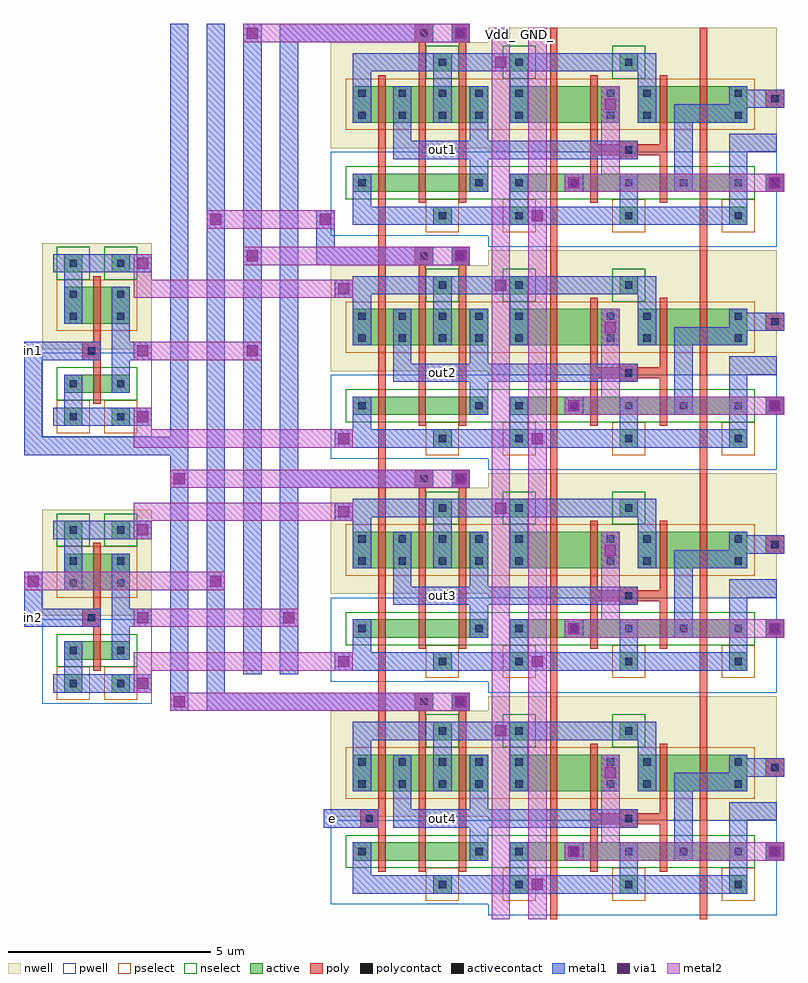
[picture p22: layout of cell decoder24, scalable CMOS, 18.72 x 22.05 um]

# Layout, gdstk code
import gdstk
lib = gdstk.Library(unit=1e-6, precision=1e-09)
def R(c, l, rs):  # rectangles x0, y0, x1, y1
    for r in rs: c.add(gdstk.rectangle(r[:2], r[2:], *l))
def A(c, l, x, y, w, h, nx, ny, dx, dy):  # array of equal rectangles
    R(c, l, [(x+i*dx, y+j*dy, x+i*dx+w, y+j*dy+h) for i in range(nx) for j in range(ny)])
pwell = (41, 0)
nwell = (42, 0)
active = (43, 0)
pselect = (44, 0)
nselect = (45, 0)
poly = (46, 0)
polycontact = (47, 0)
activecontact = (48, 0)
metal1 = (49, 0)
via1 = (50, 0)
metal2 = (51, 0)

decoder_nor2 = lib.new_cell('decoder_nor2')
R(decoder_nor2, pwell, [(6.12,2.25,13.23,4.59)])
R(decoder_nor2, nwell, [(6.12,4.59,13.23,7.65)])
A(decoder_nor2, active, 6.66, 2.79, 0.45, 0.45, 3, 1, 2.7, 0)
R(decoder_nor2, active, [(6.66,3.6,12.51,4.05), (6.66,5.31,9.36,6.21), (9.81,5.31,12.51,6.21), (6.66,6.57,7.11,7.02), (9.36,6.57,9.81,7.02)])
A(decoder_nor2, pselect, 6.48, 2.61, 0.81, 0.81, 3, 1, 2.7, 0)
R(decoder_nor2, pselect, [(6.48,5.13,12.69,6.39)])
R(decoder_nor2, nselect, [(6.48,3.42,12.69,4.23), (6.48,6.39,7.29,7.2), (9.18,6.39,9.99,7.2)])
R(decoder_nor2, poly, [(7.65,2.16,7.83,7.65), (11.34,2.16,11.52,7.65), (8.64,3.33,8.82,4.5), (10.35,3.33,10.53,4.5), (12.96,3.6,13.41,4.05), (9.36,4.41,9.81,4.5), (8.64,4.5,10.53,4.77), (8.64,4.77,8.82,6.48), (9.36,4.77,9.81,4.86), (10.35,4.77,10.53,6.48), (12.96,5.67,13.41,6.12)])
R(decoder_nor2, polycontact, [(13.095,3.735,13.275,3.915), (9.495,4.545,9.675,4.725), (13.095,5.805,13.275,5.985)])
A(decoder_nor2, activecontact, 6.795, 2.925, 0.18, 0.18, 3, 1, 2.7, 0)
A(decoder_nor2, activecontact, 6.795, 3.735, 0.18, 0.18, 5, 1, 1.35, 0)
R(decoder_nor2, activecontact, [(6.795,5.4,6.975,5.58), (9.045,5.4,9.225,5.58), (9.945,5.4,10.125,5.58), (12.195,5.4,12.375,5.58), (6.795,5.94,6.975,6.12), (9.045,5.94,9.225,6.12), (9.945,5.94,10.125,6.12), (12.195,5.94,12.375,6.12), (6.795,6.705,6.975,6.885), (9.495,6.705,9.675,6.885)])
R(decoder_nor2, metal1, [(6.12,2.79,12.51,3.24), (6.66,3.24,7.11,4.05), (9.36,3.24,9.81,4.05), (12.06,3.24,12.51,4.59), (8.01,3.6,8.46,4.05), (10.71,3.6,11.16,5.31), (12.96,3.6,13.41,4.05), (6.12,4.41,9.81,4.86), (12.06,4.59,13.23,5.04), (6.66,5.31,7.11,6.57), (8.91,5.31,9.36,6.21), (9.81,5.31,10.26,6.57), (10.71,5.31,12.51,5.67), (10.71,5.67,13.41,5.76), (12.06,5.76,13.41,6.12), (12.06,6.12,12.51,6.21), (6.12,6.57,10.26,7.02)])
R(decoder_nor2, via1, [(8.1,3.69,8.37,3.96), (13.05,3.69,13.32,3.96), (9,5.625,9.27,5.895)])
R(decoder_nor2, metal2, [(8.01,3.6,13.41,4.05), (8.91,4.05,9.36,6.21)])
decoder_nor2.add(gdstk.Label('phi0', (7.74,7.56), layer=46, texttype=0))
decoder_nor2.add(gdstk.Label('phi1', (11.43,7.56), layer=46, texttype=0))
decoder_nor2.add(gdstk.Label('Vdd_', (6.3,6.795), layer=49, texttype=0))
decoder_nor2.add(gdstk.Label('GND_', (6.3,3.015), layer=49, texttype=0))
decoder_nor2.add(gdstk.Label('in', (6.345,4.635), layer=49, texttype=0))
decoder_nor2.add(gdstk.Label('out1', (13.185,5.895), layer=49, texttype=0))
decoder_nor2.add(gdstk.Label('out2', (13.185,3.825), layer=51, texttype=0))

c_3nand2 = lib.new_cell('3nand2')
R(c_3nand2, pwell, [(-0.81,-6.39,3.6,-4.32)])
R(c_3nand2, nwell, [(-0.81,-4.23,3.6,-1.62)])
R(c_3nand2, active, [(1.71,-6.12,2.16,-5.67), (-0.27,-5.31,3.06,-4.86), (-0.27,-3.6,3.06,-2.7), (1.71,-2.34,2.16,-1.89)])
R(c_3nand2, pselect, [(1.53,-6.3,2.34,-5.49), (-0.45,-3.78,3.24,-2.52)])
R(c_3nand2, nselect, [(-0.45,-5.49,3.24,-4.68), (1.53,-2.52,2.34,-1.71)])
A(c_3nand2, poly, 0.36, -5.58, 0.18, 3.15, 3, 1, 0.99, 0)
A(c_3nand2, activecontact, -0.135, -3.51, 0.18, 0.18, 3, 2, 0.99, 0.54)
R(c_3nand2, activecontact, [(1.845,-5.985,2.025,-5.805), (-0.135,-5.175,0.045,-4.995), (2.745,-5.175,2.925,-4.995), (2.745,-3.51,2.925,-3.33), (2.745,-2.97,2.925,-2.79), (1.845,-2.205,2.025,-2.025)])
R(c_3nand2, metal1, [(-0.27,-6.12,3.6,-5.67), (-0.27,-5.67,0.18,-4.86), (2.61,-5.31,3.06,-4.5), (0.72,-4.5,3.6,-4.05), (0.72,-4.05,1.17,-2.7), (2.61,-4.05,3.06,-2.7), (-0.27,-3.6,0.18,-2.34), (1.71,-3.6,2.16,-2.34), (-0.27,-2.34,3.6,-1.89)])
c_3nand2.add(gdstk.Label('a', (0.45,-2.52), layer=46, texttype=0))
c_3nand2.add(gdstk.Label('GND_', (3.375,-5.895), layer=49, texttype=0))
c_3nand2.add(gdstk.Label('Vdd_', (3.375,-2.115), layer=49, texttype=0))
c_3nand2.add(gdstk.Label('out', (3.375,-4.275), layer=49, texttype=0))
c_3nand2.add(gdstk.Label('c', (2.43,-2.52), layer=46, texttype=0))
c_3nand2.add(gdstk.Label('b', (1.44,-2.52), layer=46, texttype=0))

inv2 = lib.new_cell('inv2')
R(inv2, pwell, [(-0.9,-1.17,1.8,0.9)])
R(inv2, nwell, [(-0.9,0.99,1.8,3.6)])
R(inv2, active, [(-0.36,-0.9,0.09,-0.45), (0.81,-0.9,1.26,-0.45), (-0.36,-0.09,1.26,0.36), (-0.36,1.62,1.26,2.52), (-0.36,2.88,0.09,3.33), (0.81,2.88,1.26,3.33)])
R(inv2, pselect, [(-0.54,-1.08,0.27,-0.27), (0.63,-1.08,1.44,-0.27), (-0.54,1.44,1.44,2.7)])
R(inv2, nselect, [(-0.54,-0.27,1.44,0.54), (-0.54,2.7,0.27,3.51), (0.63,2.7,1.44,3.51)])
R(inv2, poly, [(0.36,-0.36,0.54,0.72), (0.09,0.72,0.54,1.17), (0.36,1.17,0.54,2.79)])
R(inv2, polycontact, [(0.225,0.855,0.405,1.035)])
R(inv2, activecontact, [(-0.225,-0.765,-0.045,-0.585), (0.945,-0.765,1.125,-0.585), (-0.225,0.045,-0.045,0.225), (0.945,0.045,1.125,0.225), (-0.225,1.71,-0.045,1.89), (0.945,1.71,1.125,1.89), (-0.225,2.25,-0.045,2.43), (0.945,2.25,1.125,2.43), (-0.225,3.015,-0.045,3.195), (0.945,3.015,1.125,3.195)])
R(inv2, metal1, [(-0.63,-0.9,1.53,-0.45), (-0.36,-0.45,0.09,0.36), (0.81,-0.09,1.26,0.72), (-0.9,0.72,0.54,1.17), (0.81,0.72,1.8,1.17), (0.81,1.17,1.26,2.52), (-0.36,1.62,0.09,2.88), (-0.63,2.88,1.53,3.33)])
inv2.add(gdstk.Label('GND_', (-0.45,-0.63), layer=49, texttype=0))
inv2.add(gdstk.Label('Vdd_', (-0.45,3.06), layer=49, texttype=0))

decoder24 = lib.new_cell('decoder24')
A(decoder24, pselect, 18.27, -15.48, 0.18, 1.26, 1, 4, 0, 5.49)
A(decoder24, nselect, 18.27, -17.19, 0.18, 0.81, 1, 4, 0, 5.49)
A(decoder24, poly, 15.39, -14.13, 0.18, 2.34, 1, 3, 0, 5.49)
A(decoder24, poly, 16.38, -14.13, 0.18, 0.81, 1, 4, 0, 5.49)
A(decoder24, poly, 17.37, -14.13, 0.18, 0.81, 1, 4, 0, 5.49)
A(decoder24, poly, 16.29, -13.32, 0.45, 0.45, 1, 4, 0, 5.49)
A(decoder24, poly, 17.19, -13.32, 0.45, 0.45, 1, 4, 0, 5.49)
R(decoder24, poly, [(14.94,-16.2,15.39,-15.75)])
A(decoder24, polycontact, 16.425, -13.185, 0.18, 0.18, 1, 4, 0, 5.49)
A(decoder24, polycontact, 17.325, -13.185, 0.18, 0.18, 1, 4, 0, 5.49)
R(decoder24, polycontact, [(15.075,-16.065,15.255,-15.885)])
A(decoder24, metal1, 19.08, -17.82, 0.45, 0.45, 1, 4, 0, 5.49)
A(decoder24, metal1, 16.74, -16.2, 0.45, 0.45, 1, 4, 0, 5.49)
A(decoder24, metal1, 18.18, -14.04, 0.45, 0.45, 1, 4, 0, 5.49)
A(decoder24, metal1, 17.19, -13.32, 0.45, 0.45, 1, 4, 0, 5.49)
R(decoder24, metal1, [(14.04,-16.2,15.39,-15.75), (10.26,-13.32,10.71,-7.02), (11.16,-13.32,16.74,-12.87), (9.36,-12.87,9.81,-12.42), (11.16,-12.87,11.61,3.6), (12.06,-12.42,12.51,3.6), (12.96,-12.42,13.41,-7.83), (14.31,-12.33,14.76,-11.88), (6.66,-11.25,7.11,-9.9), (9.36,-11.25,9.81,-10.8), (9.36,-9.09,9.81,-8.64), (14.31,-8.64,14.76,-8.19), (12.96,-7.83,16.74,-7.38), (12.96,-7.38,13.41,3.15), (6.66,-7.02,10.71,-6.57), (14.31,-6.84,14.76,-6.39), (6.66,-6.57,7.11,-4.23), (10.26,-6.57,10.71,3.6), (9.36,-6.3,9.81,-5.85), (9.36,-4.68,9.81,-4.23), (14.31,-3.15,14.76,-2.7), (9.36,-2.52,9.81,-2.07), (13.86,-2.34,16.74,-1.89), (13.86,-1.89,14.31,-0.99), (12.96,3.15,16.74,3.6)])
A(decoder24, via1, 19.17, -17.73, 0.27, 0.27, 1, 4, 0, 5.49)
A(decoder24, via1, 18.27, -13.95, 0.27, 0.27, 1, 4, 0, 5.49)
A(decoder24, via1, 17.28, -13.23, 0.27, 0.27, 1, 4, 0, 5.49)
R(decoder24, via1, [(10.35,-13.23,10.62,-12.96), (9.45,-12.78,9.72,-12.51), (14.4,-12.24,14.67,-11.97), (9.45,-11.16,9.72,-10.89), (13.05,-11.16,13.32,-10.89), (6.75,-10.26,7.02,-9.99), (11.25,-10.26,11.52,-9.99), (9.45,-9,9.72,-8.73), (14.4,-8.55,14.67,-8.28), (10.35,-7.74,10.62,-7.47), (14.4,-6.75,14.67,-6.48), (9.45,-6.21,9.72,-5.94), (9.45,-4.59,9.72,-4.32), (12.15,-4.59,12.42,-4.32), (14.4,-3.06,14.67,-2.79), (9.45,-2.43,9.72,-2.16), (12.15,-2.25,12.42,-1.98), (11.25,-1.35,11.52,-1.08), (13.95,-1.35,14.22,-1.08), (12.15,3.24,12.42,3.51)])
R(decoder24, metal2, [(18.18,-18.45,18.63,3.51), (19.08,-18.45,19.53,3.51), (10.26,-13.32,17.64,-12.87), (9.36,-12.87,9.81,-12.33), (9.36,-12.33,14.76,-11.88), (9.36,-11.25,13.41,-10.8), (6.66,-10.35,11.61,-9.9), (9.36,-9.09,9.81,-8.64), (9.36,-8.64,14.76,-8.19), (10.26,-7.83,17.64,-7.38), (9.36,-6.84,14.76,-6.39), (9.36,-6.39,9.81,-5.85), (9.36,-4.68,12.51,-4.23), (9.36,-3.15,14.76,-2.7), (9.36,-2.7,9.81,-2.07), (12.06,-2.34,17.64,-1.89), (11.16,-1.44,14.31,-0.99), (12.06,3.15,17.64,3.6)])
decoder24.add(gdstk.Reference(decoder_nor2, (11.97,-4.14)))
decoder24.add(gdstk.Reference(c_3nand2, (15.03,4.77)))
decoder24.add(gdstk.Reference(decoder_nor2, (11.97,-9.63)))
decoder24.add(gdstk.Reference(inv2, (8.01,-5.4)))
decoder24.add(gdstk.Reference(c_3nand2, (15.03,-0.72)))
decoder24.add(gdstk.Reference(decoder_nor2, (11.97,-15.12)))
decoder24.add(gdstk.Reference(decoder_nor2, (11.97,-20.61)))
decoder24.add(gdstk.Reference(inv2, (8.01,-11.97)))
decoder24.add(gdstk.Reference(c_3nand2, (15.03,-6.21)))
decoder24.add(gdstk.Reference(c_3nand2, (15.03,-11.7)))
decoder24.add(gdstk.Label('Vdd_', (18.405,3.33), layer=51, texttype=0))
decoder24.add(gdstk.Label('GND_', (19.305,3.33), layer=51, texttype=0))
decoder24.add(gdstk.Label('out1', (16.965,0.495), layer=49, texttype=0))
decoder24.add(gdstk.Label('out2', (16.965,-4.995), layer=49, texttype=0))
decoder24.add(gdstk.Label('out3', (16.965,-10.485), layer=49, texttype=0))
decoder24.add(gdstk.Label('out4', (16.965,-15.975), layer=49, texttype=0))
decoder24.add(gdstk.Label('in1', (6.885,-4.455), layer=49, texttype=0))
decoder24.add(gdstk.Label('in2', (6.885,-11.025), layer=49, texttype=0))
decoder24.add(gdstk.Label('e', (14.265,-15.975), layer=49, texttype=0))

lib.write_gds('decoder24.gds')
